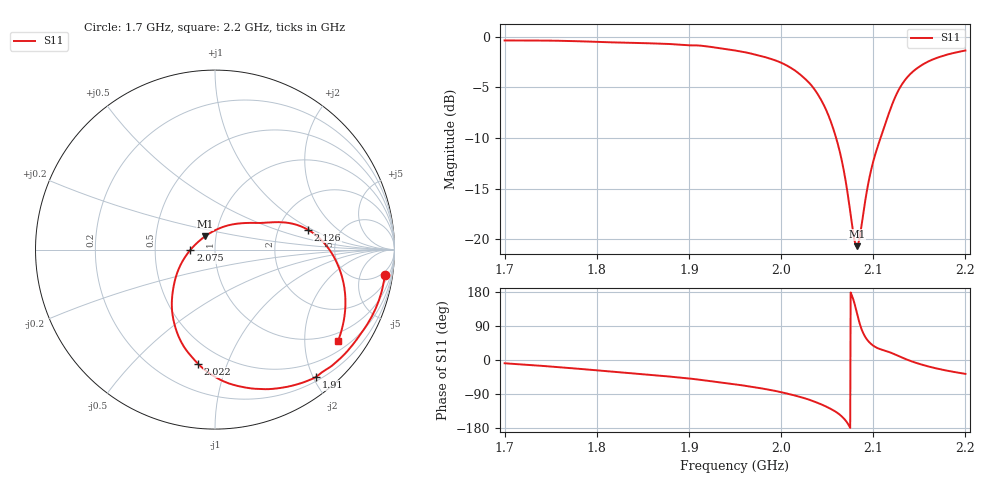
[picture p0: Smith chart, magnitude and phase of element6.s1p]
# Hz S RI R 50
! CMT, CMT808U, 21440046, 21.4.3/4
! Date: 12/1/2025 1:31:23 PM
! Data: Format (Calibration Info)
! Freq	S11:Re/Im(F2)
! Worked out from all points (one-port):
!   1001 points, 1.7 GHz to 2.2 GHz, reference 50 ohm
!   lowest |S11| = -20.7 dB at 2.082 GHz (marker M1), VSWR 1.20, Z = 44.3 + j6.59 ohm
!   |S11| at or under -10 dB: 2.06 GHz to 2.108 GHz (48.21 MHz wide, 2.31 % of centre)
!   S11 on the Smith chart (normalised r, x): 1.7 GHz: 3, -12; 1.91 GHz: 0.26, -2.04; 2.022 GHz: 0.37, -0.79; 2.075 GHz: 0.76, -0.00; 2.126 GHz: 2.93, +0.91; 2.2 GHz: 0.75, -2.84
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1.7e9  0.9473 -0.144
1.7625e9  0.8986 -0.3208
1.825e9  0.7923 -0.4971
1.8875e9  0.6375 -0.6567
1.91e9  0.5626 -0.7091
1.95e9  0.373 -0.7694
1.986e9  0.1631 -0.7674
2e9  0.0661 -0.7414
2.0125e9  -0.0259 -0.6928
2.022e9  -0.0943 -0.6363
2.0395e9  -0.2041 -0.4811
2.054e9  -0.2406 -0.2948
2.0605e9  -0.2304 -0.2038
2.0655e9  -0.2115 -0.132
2.07e9  -0.1827 -0.0677
2.075e9  -0.1373 -0.00184
2.079e9  -0.0927 0.0439
2.082e9  -0.0557 0.0738
2.0855e9  -0.0084 0.1032
2.094e9  0.1133 0.1431
2.1005e9  0.197 0.1488
2.117e9  0.3905 0.1509
2.126e9  0.5169 0.1113
2.1375e9  0.6352 0.00264
2.149e9  0.6964 -0.1166
2.162e9  0.7242 -0.2403
2.181e9  0.7183 -0.391
2.2e9  0.6858 -0.5099
